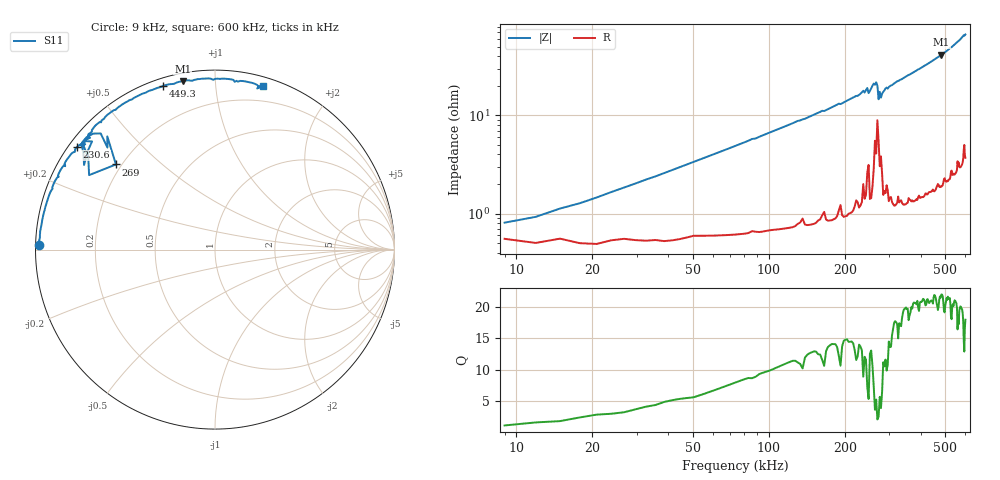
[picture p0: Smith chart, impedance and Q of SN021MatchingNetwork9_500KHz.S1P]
!Agilent Technologies,E5071C,MY46100265,A.07.02
!Date: Mon Jan 27 12:20:15 2020
!Data & Calibration Information:
!Freq	S11:SOLT1(OFF)
# Hz S dB R 50
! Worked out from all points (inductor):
!   201 points, 9 kHz to 600 kHz, reference 50 ohm
!   read as one part to ground: L = 10.5 uH near 26.73 kHz
!   highest Q = 21.8 at 481.8 kHz (marker M1), where L = 13.6 uH
!   S11 on the Smith chart (normalised r, x): 9 kHz: 0.01, +0.01; 230.6 kHz: 0.02, +0.33; 269 kHz: 0.18, +0.36; 449.3 kHz: 0.03, +0.73; 600 kHz: 0.07, +1.33
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9000  -0.19 178.6
82875  -0.22 167.5
156750  -0.28 156.1
230625  -0.38 143.3
236535  -0.62 140.9
239490  -0.44 142.4
245400  -0.80 138.7
248355  -0.98 143.2
251310  -0.44 141.1
260175  -0.84 134.5
263130  -1.66 136.5
266085  -1.20 133.6
269040  -2.76 139.3
271995  -1.78 149.4
274950  -0.94 142.1
277905  -1.23 147.1
283815  -0.48 141.8
292680  -0.59 138.1
295635  -0.53 139.1
304500  -0.44 136.2
378375  -0.36 121.6
449295  -0.38 107.7
452250  -0.38 107.0
481800  -0.39 100.8
526125  -0.47 90.8
573405  -0.43 79.9
591135  -0.57 74.6
600000  -0.46 73.7
